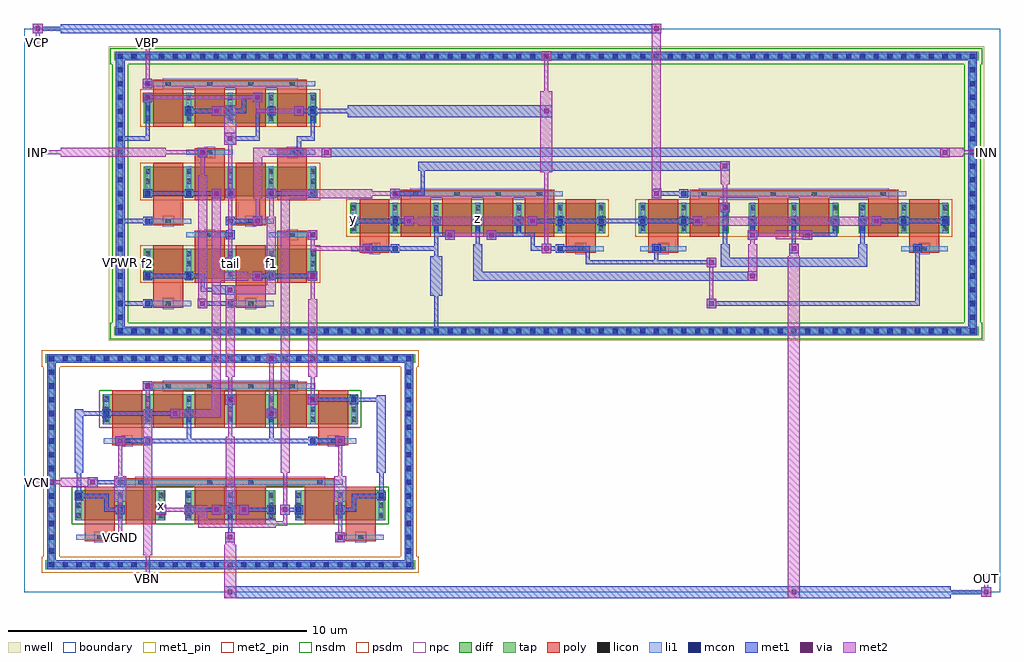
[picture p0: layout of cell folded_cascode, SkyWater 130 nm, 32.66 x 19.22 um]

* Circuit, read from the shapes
.subckt folded_cascode INN INP OUT VBN VBP VCN VCP VGND VPWR f1 f2 tail x y z
XM1 f1 VGND f1 VGND sky130_fd_pr__nfet_01v8 w=1 l=1 m=4
XM2 x VCN f1 VGND sky130_fd_pr__nfet_01v8 w=1 l=1 m=2
XM3 VGND VBN f1 VGND sky130_fd_pr__nfet_01v8 w=1 l=1 m=2
XM4 OUT VCN f2 VGND sky130_fd_pr__nfet_01v8 w=1 l=1 m=2
XM5 f2 VBN VGND VGND sky130_fd_pr__nfet_01v8 w=1 l=1 m=2
XM6 f2 VPWR f2 VPWR sky130_fd_pr__pfet_01v8 w=1 l=1 m=2
XM7 f1 VPWR f1 VPWR sky130_fd_pr__pfet_01v8 w=1 l=1 m=2
XM8 tail VBP VPWR VPWR sky130_fd_pr__pfet_01v8 w=1 l=1 m=4
XM9 tail INN f2 VPWR sky130_fd_pr__pfet_01v8 w=1 l=1 m=2
XM10 tail INP f1 VPWR sky130_fd_pr__pfet_01v8 w=1 l=1 m=2
XM11 y VPWR y VPWR sky130_fd_pr__pfet_01v8 w=1 l=1 m=4
XM12 VPWR x y VPWR sky130_fd_pr__pfet_01v8 w=1 l=1 m=2
XM13 z x VPWR VPWR sky130_fd_pr__pfet_01v8 w=1 l=1 m=2
XM14 x VCP y VPWR sky130_fd_pr__pfet_01v8 w=1 l=1 m=2
XM15 OUT VCP z VPWR sky130_fd_pr__pfet_01v8 w=1 l=1 m=2
.ends

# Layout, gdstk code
import gdstk
lib = gdstk.Library(unit=1e-6, precision=1e-09)
def R(c, l, rs):  # rectangles x0, y0, x1, y1
    for r in rs: c.add(gdstk.rectangle(r[:2], r[2:], *l))
def A(c, l, x, y, w, h, nx, ny, dx, dy):  # array of equal rectangles
    R(c, l, [(x+i*dx, y+j*dy, x+i*dx+w, y+j*dy+h) for i in range(nx) for j in range(ny)])
nwell = (64, 20)
diff = (65, 20)
tap = (65, 44)
poly = (66, 20)
licon = (66, 44)
li1 = (67, 20)
mcon = (67, 44)
met1_pin = (68, 16)
met1 = (68, 20)
via = (68, 44)
met2_pin = (69, 16)
met2 = (69, 20)
nsdm = (93, 44)
psdm = (94, 20)
npc = (95, 20)
boundary = (235, 4)

folded_cascode = lib.new_cell('folded_cascode')
R(folded_cascode, nwell, [(2.835,8.415,32.125,18.265)])
A(folded_cascode, diff, 1.715, 2.405, 3.01, 1, 3, 1, 3.68, 0)
A(folded_cascode, diff, 20.575, 12.02, 3.01, 1, 3, 1, 3.68, 0)
R(folded_cascode, diff, [(2.635,5.625,11.165,6.625), (4.015,10.485,9.785,11.485), (10.915,12.02,19.445,13.02), (4.015,13.245,9.785,14.245), (4.015,15.7,9.785,16.7)])
R(folded_cascode, tap, [(0.715,0.775,13.085,1.065), (0.775,0.775,1.065,7.965), (12.735,0.775,13.025,7.965), (0.715,7.675,13.085,7.965), (3.015,8.595,31.945,8.885), (3.075,8.595,3.365,18.085), (31.595,8.595,31.885,18.085), (3.015,17.795,31.945,18.085)])
A(folded_cascode, poly, 4.33, 5.495, 1, 1.405, 4, 1, 1.38, 0)
A(folded_cascode, poly, 12.61, 11.89, 1, 1.45, 4, 1, 1.38, 0)
A(folded_cascode, poly, 4.33, 15.57, 1, 1.45, 4, 1, 1.38, 0)
R(folded_cascode, poly, [(2.03,1.705,3.03,1.975), (10.77,1.705,11.77,1.975), (2.03,1.84,3.03,3.535), (10.77,1.84,11.77,3.535), (3.41,2.275,4.41,3.68), (5.71,2.275,6.71,3.68), (7.09,2.275,8.09,3.68), (9.39,2.275,10.39,3.68), (3.41,3.545,10.39,3.815), (2.95,4.925,3.95,5.195), (9.85,4.925,10.85,5.195), (2.95,5.06,3.95,6.755), (9.85,5.06,10.85,6.755), (4.33,6.765,9.47,7.035), (4.33,9.525,5.33,9.795), (7.09,9.525,8.09,9.795), (4.33,9.66,5.33,11.615), (7.09,9.66,8.09,11.615), (5.71,10.355,6.71,11.96), (8.47,10.355,9.47,11.96), (11.23,11.365,12.23,11.635), (18.13,11.365,19.13,11.635), (20.89,11.365,21.89,11.635), (29.63,11.365,30.63,11.635), (11.23,11.5,12.23,13.15), (18.13,11.5,19.13,13.15), (20.89,11.5,21.89,13.15), (29.63,11.5,30.63,13.15), (5.71,11.825,6.71,12.095), (8.47,11.825,9.47,12.095), (22.27,11.89,23.27,13.34), (24.57,11.89,25.57,13.34), (25.95,11.89,26.95,13.34), (28.25,11.89,29.25,13.34), (4.33,12.285,5.33,12.555), (7.09,12.285,8.09,12.555), (4.33,12.42,5.33,14.375), (7.09,12.42,8.09,14.375), (5.71,13.115,6.71,14.72), (8.47,13.115,9.47,14.72), (12.61,13.205,17.75,13.475), (22.27,13.205,29.25,13.475), (5.71,14.585,6.71,14.855), (8.47,14.585,9.47,14.855), (4.33,16.885,9.47,17.155)])
A(folded_cascode, licon, 0.835, 0.835, 0.17, 0.17, 27, 2, 0.46, 6.9)
A(folded_cascode, licon, 0.835, 1.295, 0.17, 0.17, 1, 14, 0, 0.46)
A(folded_cascode, licon, 12.795, 1.295, 0.17, 0.17, 1, 14, 0, 0.46)
A(folded_cascode, licon, 1.755, 2.48, 0.17, 0.17, 3, 3, 1.38, 0.34)
A(folded_cascode, licon, 5.435, 2.48, 0.17, 0.17, 3, 3, 1.38, 0.34)
A(folded_cascode, licon, 9.115, 2.48, 0.17, 0.17, 3, 3, 1.38, 0.34)
A(folded_cascode, licon, 2.675, 5.7, 0.17, 0.17, 7, 3, 1.38, 0.34)
A(folded_cascode, licon, 4.745, 6.815, 0.17, 0.17, 4, 2, 1.38, 10.12)
A(folded_cascode, licon, 3.135, 8.655, 0.17, 0.17, 63, 2, 0.46, 9.2)
A(folded_cascode, licon, 3.135, 9.115, 0.17, 0.17, 1, 19, 0, 0.46)
A(folded_cascode, licon, 31.655, 9.115, 0.17, 0.17, 1, 19, 0, 0.46)
A(folded_cascode, licon, 4.055, 10.56, 0.17, 0.17, 5, 3, 1.38, 0.34)
A(folded_cascode, licon, 10.955, 12.095, 0.17, 0.17, 10, 3, 1.38, 0.34)
A(folded_cascode, licon, 24.295, 12.095, 0.17, 0.17, 3, 3, 1.38, 0.34)
A(folded_cascode, licon, 27.975, 12.095, 0.17, 0.17, 3, 3, 1.38, 0.34)
A(folded_cascode, licon, 13.025, 13.255, 0.17, 0.17, 4, 1, 1.38, 0)
A(folded_cascode, licon, 4.055, 13.32, 0.17, 0.17, 5, 3, 1.38, 0.34)
A(folded_cascode, licon, 4.055, 15.775, 0.17, 0.17, 5, 3, 1.38, 0.34)
R(folded_cascode, licon, [(2.445,1.755,2.615,1.925), (11.185,1.755,11.355,1.925), (3.825,3.595,3.995,3.765), (6.125,3.595,6.295,3.765), (7.505,3.595,7.675,3.765), (9.805,3.595,9.975,3.765), (3.365,4.975,3.535,5.145), (10.265,4.975,10.435,5.145), (4.745,9.575,4.915,9.745), (7.505,9.575,7.675,9.745), (11.645,11.415,11.815,11.585), (18.545,11.415,18.715,11.585), (21.305,11.415,21.475,11.585), (30.045,11.415,30.215,11.585), (6.125,11.875,6.295,12.045), (8.885,11.875,9.055,12.045), (4.745,12.335,4.915,12.505), (7.505,12.335,7.675,12.505), (22.685,13.255,22.855,13.425), (24.985,13.255,25.155,13.425), (26.365,13.255,26.535,13.425), (28.665,13.255,28.835,13.425), (6.125,14.635,6.295,14.805), (8.885,14.635,9.055,14.805)])
A(folded_cascode, li1, 1.755, 2.4, 0.17, 1.01, 3, 1, 1.38, 0)
A(folded_cascode, li1, 5.435, 2.4, 0.17, 1.01, 3, 1, 1.38, 0)
A(folded_cascode, li1, 9.115, 2.4, 0.17, 1.01, 3, 1, 1.38, 0)
A(folded_cascode, li1, 2.675, 5.62, 0.17, 1.01, 7, 1, 1.38, 0)
A(folded_cascode, li1, 4.055, 10.48, 0.17, 1.01, 5, 2, 1.38, 2.76)
A(folded_cascode, li1, 10.955, 12.015, 0.17, 1.01, 10, 1, 1.38, 0)
A(folded_cascode, li1, 24.295, 12.015, 0.17, 1.01, 3, 1, 1.38, 0)
A(folded_cascode, li1, 27.975, 12.015, 0.17, 1.01, 3, 1, 1.38, 0)
A(folded_cascode, li1, 4.055, 15.695, 0.17, 1.01, 5, 1, 1.38, 0)
R(folded_cascode, li1, [(0.755,0.835,13.045,1.005), (0.835,0.835,1.005,7.905), (12.795,0.835,12.965,7.905), (1.755,1.755,3.305,1.925), (10.495,1.755,12.045,1.925), (3.135,3.595,10.665,3.765), (2.675,4.975,4.225,5.145), (9.575,4.975,11.125,5.145), (4.055,6.815,9.745,6.985), (0.755,7.735,13.045,7.905), (3.055,8.655,31.905,8.825), (3.135,8.655,3.305,18.025), (31.655,8.655,31.825,18.025), (4.055,9.575,5.605,9.745), (6.815,9.575,8.365,9.745), (10.955,11.415,12.505,11.585), (17.855,11.415,19.405,11.585), (20.615,11.415,22.165,11.585), (29.355,11.415,30.905,11.585), (5.435,11.875,6.985,12.045), (8.195,11.875,9.745,12.045), (4.055,12.335,5.605,12.505), (6.815,12.335,8.365,12.505), (12.335,13.255,18.025,13.425), (21.995,13.255,29.525,13.425), (5.435,14.635,6.985,14.805), (8.195,14.635,9.745,14.805), (4.055,16.935,9.745,17.105), (3.055,17.855,31.905,18.025)])
A(folded_cascode, mcon, 0.835, 0.835, 0.17, 0.17, 27, 2, 0.46, 6.9)
A(folded_cascode, mcon, 0.835, 1.295, 0.17, 0.17, 1, 14, 0, 0.46)
A(folded_cascode, mcon, 12.795, 1.295, 0.17, 0.17, 1, 14, 0, 0.46)
A(folded_cascode, mcon, 3.135, 1.755, 0.17, 0.17, 1, 3, 0, 0.92)
A(folded_cascode, mcon, 5.435, 2.675, 0.17, 0.17, 3, 1, 1.38, 0)
A(folded_cascode, mcon, 2.675, 5.895, 0.17, 0.17, 3, 1, 1.38, 0)
A(folded_cascode, mcon, 3.135, 8.655, 0.17, 0.17, 63, 2, 0.46, 9.2)
A(folded_cascode, mcon, 3.135, 9.115, 0.17, 0.17, 1, 19, 0, 0.46)
A(folded_cascode, mcon, 31.655, 9.115, 0.17, 0.17, 1, 9, 0, 0.46)
A(folded_cascode, mcon, 10.955, 12.335, 0.17, 0.17, 9, 1, 1.38, 0)
A(folded_cascode, mcon, 24.295, 12.335, 0.17, 0.17, 3, 1, 1.38, 0)
A(folded_cascode, mcon, 27.975, 12.335, 0.17, 0.17, 3, 1, 1.38, 0)
A(folded_cascode, mcon, 4.055, 13.255, 0.17, 0.17, 5, 1, 1.38, 0)
A(folded_cascode, mcon, 12.335, 13.255, 0.17, 0.17, 3, 1, 9.66, 0)
A(folded_cascode, mcon, 31.655, 13.715, 0.17, 0.17, 1, 9, 0, 0.46)
A(folded_cascode, mcon, 5.435, 16.015, 0.17, 0.17, 4, 1, 1.38, 0)
R(folded_cascode, mcon, [(10.495,1.755,10.665,1.925), (4.515,2.675,4.685,2.845), (9.115,2.675,9.285,2.845), (10.495,2.675,10.665,2.845), (1.755,3.135,1.925,3.305), (11.875,3.135,12.045,3.305), (4.055,4.975,4.225,5.145), (9.575,4.975,9.745,5.145), (8.195,5.895,8.365,6.065), (6.815,6.355,6.985,6.525), (9.575,6.355,9.745,6.525), (10.955,6.355,11.125,6.525), (4.055,6.815,4.225,6.985), (4.055,9.575,4.225,9.745), (6.815,9.575,6.985,9.745), (4.055,10.495,4.225,10.665), (5.435,10.495,5.605,10.665), (8.195,10.495,8.365,10.665), (9.575,10.495,9.745,10.665), (6.815,10.955,6.985,11.125), (12.335,11.415,12.505,11.585), (17.855,11.415,18.025,11.585), (21.075,11.415,21.245,11.585), (29.815,11.415,29.985,11.585), (6.815,11.875,6.985,12.045), (9.575,11.875,9.745,12.045), (4.055,12.335,4.225,12.505), (6.815,12.335,6.985,12.505), (23.375,12.795,23.545,12.965), (5.895,14.635,6.065,14.805), (9.115,14.635,9.285,14.805), (4.055,16.475,4.225,16.645), (4.055,16.935,4.225,17.105)])
R(folded_cascode, met1_pin, [(3.075,1.695,3.365,1.985), (3.15,9.59,3.29,12.49)])
A(folded_cascode, met1, 3.06, 1.68, 0.32, 0.32, 3, 1, 3.68, 0)
A(folded_cascode, met1, 3.075, 1.695, 0.29, 0.29, 1, 3, 0, 0.92)
A(folded_cascode, met1, 5.375, 2.615, 0.29, 0.29, 3, 1, 1.38, 0)
A(folded_cascode, met1, 2.615, 5.835, 0.29, 0.29, 3, 1, 1.38, 0)
A(folded_cascode, met1, 3.15, 9.59, 1.06, 0.14, 1, 3, 0, 2.76)
A(folded_cascode, met1, 10.895, 12.275, 0.29, 0.29, 9, 1, 1.38, 0)
A(folded_cascode, met1, 24.235, 12.275, 0.29, 0.29, 3, 1, 1.38, 0)
A(folded_cascode, met1, 27.915, 12.275, 0.29, 0.29, 3, 1, 1.38, 0)
A(folded_cascode, met1, 17.87, 12.35, 1.52, 0.14, 3, 1, 1.38, 0)
A(folded_cascode, met1, 3.995, 13.195, 0.29, 0.29, 5, 1, 1.38, 0)
A(folded_cascode, met1, 5.375, 15.955, 0.29, 0.29, 4, 1, 1.38, 0)
R(folded_cascode, met1, [(6.7,-0.2,31.02,0.2), (6.7,-0.2,7.1,0.2), (25.56,-0.2,25.96,0.2), (32.04,-0.16,32.36,0.16), (30.75,-0.07,32.27,0.07), (0.775,0.775,1.065,7.965), (0.775,0.775,13.025,1.065), (12.735,0.775,13.025,7.965), (10.435,1.695,10.725,1.985), (6.83,1.77,6.97,2.83), (4.44,2.6,4.76,2.92), (6.28,2.6,6.6,2.92), (7.2,2.6,7.52,2.92), (8.58,2.6,8.9,2.92), (4.455,2.615,4.745,2.905), (9.055,2.615,9.345,2.905), (10.435,2.615,10.725,2.905), (2.69,2.69,3.29,2.83), (2.69,2.69,2.83,3.29), (5.45,2.69,6.51,2.83), (7.29,2.69,8.35,2.83), (8.67,2.69,9.27,2.83), (10.51,2.69,11.11,2.83), (10.97,2.69,11.11,3.29), (1.695,3.075,1.985,3.365), (11.815,3.075,12.105,3.365), (1.77,3.15,2.83,3.29), (1.77,3.15,1.91,4.21), (10.97,3.15,12.03,3.29), (11.89,3.15,12.03,4.21), (2.14,3.52,2.46,3.84), (2.23,3.61,3.29,3.75), (1.69,3.99,1.99,6.13), (11.81,3.99,12.11,6.59), (3.06,4.9,3.38,5.22), (10.42,4.9,10.74,5.22), (3.995,4.915,4.285,5.205), (9.515,4.915,9.805,5.205), (3.15,4.99,4.21,5.13), (4.07,4.99,5.59,5.13), (5.45,4.99,5.59,6.05), (5.45,4.99,8.35,5.13), (8.21,4.99,8.35,6.05), (8.21,4.99,9.73,5.13), (9.59,4.99,10.65,5.13), (4.9,5.82,5.22,6.14), (8.12,5.82,8.44,6.14), (8.135,5.835,8.425,6.125), (1.77,5.91,2.83,6.05), (2.69,5.91,4.21,6.05), (4.07,5.91,5.13,6.05), (6.74,6.28,7.06,6.6), (9.5,6.28,9.82,6.6), (6.755,6.295,7.045,6.585), (9.515,6.295,9.805,6.585), (10.895,6.295,11.185,6.585), (9.59,6.37,11.11,6.51), (10.97,6.37,12.03,6.51), (3.98,6.74,4.3,7.06), (3.995,6.755,4.285,7.045), (8.12,7.66,8.44,7.98), (0.775,7.675,13.025,7.965), (8.21,7.75,8.35,7.89), (8.21,7.75,12.95,7.89), (12.81,7.75,12.95,7.89), (3.075,8.595,31.885,8.885), (3.075,8.595,3.365,18.085), (31.595,8.595,31.885,18.085), (13.73,8.67,13.87,10.19), (13.73,8.67,13.87,8.81), (5.82,9.5,6.14,9.82), (22.84,9.5,23.16,9.82), (3.995,9.515,4.285,9.805), (6.755,9.515,7.045,9.805), (3.15,9.59,3.29,12.49), (5.91,9.59,6.97,9.73), (22.93,9.59,29.97,9.73), (29.83,9.59,29.97,11.57), (13.6,9.92,14,11.24), (6.74,9.96,7.06,10.28), (6.29,9.97,7.05,10.27), (5.91,10.05,6.51,10.19), (5.91,10.05,6.05,10.65), (7.66,10.42,7.98,10.74), (9.5,10.42,9.82,10.74), (24.22,10.42,24.54,10.74), (15.03,10.43,24.53,10.73), (15.03,10.43,15.33,11.65), (3.995,10.435,4.285,10.725), (5.375,10.435,5.665,10.725), (8.135,10.435,8.425,10.725), (9.515,10.435,9.805,10.725), (4.07,10.51,5.59,10.65), (5.45,10.51,6.05,10.65), (7.75,10.51,8.35,10.65), (8.21,10.51,9.73,10.65), (6.74,10.88,7.06,11.2), (22.84,10.88,23.16,11.2), (23.31,10.89,23.61,11.65), (23.31,10.89,28.21,11.19), (27.91,10.89,28.21,11.65), (6.755,10.895,7.045,11.185), (13.73,10.97,13.87,11.57), (18.79,10.97,18.93,11.57), (18.79,10.97,21.23,11.11), (21.09,10.97,21.23,11.57), (21.09,10.97,23.07,11.11), (11.34,11.34,11.66,11.66), (17.32,11.34,17.64,11.66), (25.6,11.34,25.92,11.66), (12.275,11.355,12.565,11.645), (17.795,11.355,18.085,11.645), (21.015,11.355,21.305,11.645), (29.755,11.355,30.045,11.645), (11.43,11.43,12.49,11.57), (12.35,11.43,13.87,11.57), (13.73,11.43,13.87,12.49), (15.11,11.43,15.25,12.49), (16.95,11.43,18.01,11.57), (16.95,11.43,17.09,12.03), (17.87,11.43,18.93,11.57), (23.39,11.43,23.53,12.95), (25.69,11.43,25.83,12.49), (27.99,11.43,28.13,12.49), (9.5,11.8,9.82,12.12), (14.1,11.8,14.42,12.12), (15.48,11.8,15.8,12.12), (24.22,11.8,24.54,12.12), (26.06,11.8,26.38,12.12), (6.755,11.815,7.045,12.105), (9.515,11.815,9.805,12.105), (6.83,11.89,6.97,12.49), (13.73,11.89,14.33,12.03), (15.57,11.89,16.63,12.03), (16.49,11.89,17.09,12.03), (16.49,11.89,16.63,12.49), (24.31,11.89,24.45,12.49), (26.15,11.89,27.21,12.03), (27.07,11.89,27.21,12.49), (7.66,12.26,7.98,12.58), (12.72,12.26,13.04,12.58), (16.86,12.26,17.18,12.58), (22.38,12.26,22.7,12.58), (28.36,12.26,28.68,12.58), (3.995,12.275,4.285,12.565), (6.755,12.275,7.045,12.565), (3.15,12.35,3.29,15.25), (6.83,12.35,7.89,12.49), (10.97,12.35,12.49,12.49), (12.35,12.35,12.95,12.49), (16.95,12.35,18.01,12.49), (22.01,12.35,22.61,12.49), (28.45,12.35,29.51,12.49), (29.37,12.35,30.89,12.49), (23.3,12.72,23.62,13.04), (23.315,12.735,23.605,13.025), (6.28,13.18,6.6,13.5), (6.74,13.18,7.06,13.5), (8.12,13.18,8.44,13.5), (12.26,13.18,12.58,13.5), (21,13.18,21.32,13.5), (12.275,13.195,12.565,13.485), (21.935,13.195,22.225,13.485), (4.07,13.27,5.59,13.41), (5.45,13.27,6.51,13.41), (8.21,13.27,9.73,13.41), (12.35,13.27,13.41,13.41), (13.27,13.27,13.41,14.33), (21.09,13.27,22.15,13.41), (23.3,14.1,23.62,14.42), (13.19,14.11,23.61,14.41), (5.82,14.56,6.14,14.88), (9.96,14.56,10.28,14.88), (30.66,14.56,30.98,14.88), (9.97,14.57,30.97,14.87), (5.835,14.575,6.125,14.865), (9.055,14.575,9.345,14.865), (9.13,14.65,9.27,15.25), (6.7,14.98,7.1,15.38), (4.07,15.11,4.21,16.63), (6.83,15.11,7.89,15.25), (7.75,15.11,7.89,16.17), (9.13,15.11,9.73,15.25), (9.59,15.11,9.73,16.17), (10.84,15.9,17.68,16.3), (17.28,15.9,17.68,16.3), (6.28,15.94,6.6,16.26), (9.04,15.94,9.36,16.26), (5.45,16.03,6.51,16.17), (6.83,16.03,7.43,16.17), (7.29,16.03,7.43,16.63), (7.75,16.03,8.35,16.17), (9.13,16.03,9.73,16.17), (9.59,16.03,11.11,16.17), (3.98,16.4,4.3,16.72), (7.66,16.4,7.98,16.72), (3.995,16.415,4.285,16.705), (7.29,16.49,7.89,16.63), (3.98,16.86,4.3,17.18), (3.995,16.875,4.285,17.165), (17.32,17.78,17.64,18.1), (3.075,17.795,31.885,18.085), (17.41,17.87,17.55,18.01), (0.3,18.7,0.62,19.02), (21,18.7,21.32,19.02), (1.23,18.71,21.31,19.01), (0.39,18.79,1.45,18.93)])
A(folded_cascode, via, 3.145, 1.765, 0.15, 0.15, 3, 1, 3.68, 0)
R(folded_cascode, via, [(6.825,-0.075,6.975,0.075), (25.685,-0.075,25.835,0.075), (32.125,-0.075,32.275,0.075), (4.525,2.685,4.675,2.835), (6.365,2.685,6.515,2.835), (7.285,2.685,7.435,2.835), (8.665,2.685,8.815,2.835), (2.225,3.605,2.375,3.755), (3.145,4.985,3.295,5.135), (10.505,4.985,10.655,5.135), (4.985,5.905,5.135,6.055), (8.205,5.905,8.355,6.055), (6.825,6.365,6.975,6.515), (9.585,6.365,9.735,6.515), (4.065,6.825,4.215,6.975), (8.205,7.745,8.355,7.895), (5.905,9.585,6.055,9.735), (22.925,9.585,23.075,9.735), (6.825,10.045,6.975,10.195), (7.745,10.505,7.895,10.655), (9.585,10.505,9.735,10.655), (24.305,10.505,24.455,10.655), (6.825,10.965,6.975,11.115), (22.925,10.965,23.075,11.115), (11.425,11.425,11.575,11.575), (17.405,11.425,17.555,11.575), (25.685,11.425,25.835,11.575), (9.585,11.885,9.735,12.035), (14.185,11.885,14.335,12.035), (15.565,11.885,15.715,12.035), (24.305,11.885,24.455,12.035), (26.145,11.885,26.295,12.035), (7.745,12.345,7.895,12.495), (12.805,12.345,12.955,12.495), (16.945,12.345,17.095,12.495), (22.465,12.345,22.615,12.495), (28.445,12.345,28.595,12.495), (23.385,12.805,23.535,12.955), (6.365,13.265,6.515,13.415), (6.825,13.265,6.975,13.415), (8.205,13.265,8.355,13.415), (12.345,13.265,12.495,13.415), (21.085,13.265,21.235,13.415), (23.385,14.185,23.535,14.335), (5.905,14.645,6.055,14.795), (10.045,14.645,10.195,14.795), (30.745,14.645,30.895,14.795), (6.825,15.105,6.975,15.255), (6.365,16.025,6.515,16.175), (9.125,16.025,9.275,16.175), (17.405,16.025,17.555,16.175), (4.065,16.485,4.215,16.635), (7.745,16.485,7.895,16.635), (4.065,16.945,4.215,17.095), (17.405,17.865,17.555,18.015), (0.385,18.785,0.535,18.935), (21.085,18.785,21.235,18.935)])
R(folded_cascode, met2_pin, [(3.99,0.31,4.29,0.61), (32.05,0.31,32.35,0.61), (0.31,3.53,0.61,3.83), (0.31,14.57,0.61,14.87), (32.05,14.57,32.35,14.87), (0.31,18.25,0.61,18.55), (3.99,18.25,4.29,18.55)])
A(folded_cascode, met2, 3.06, 1.68, 0.32, 0.32, 3, 1, 3.68, 0)
R(folded_cascode, met2, [(6.7,-0.2,7.1,0.2), (6.7,-0.2,7.1,1.58), (25.56,-0.2,25.96,11.24), (25.56,-0.2,25.96,0.2), (32.04,-0.16,32.36,0.16), (32.13,-0.07,32.27,0.53), (3.99,0.31,4.29,0.61), (32.05,0.31,32.35,0.61), (4.07,0.39,4.21,1.45), (4.07,0.39,4.21,0.53), (32.13,0.39,32.27,0.53), (3.99,1.23,4.29,6.13), (6.83,1.31,6.97,1.91), (6.74,1.58,7.06,1.68), (3.15,1.77,3.29,3.29), (10.51,1.77,10.65,3.29), (5.83,2.15,6.13,2.91), (5.83,2.15,8.43,2.45), (8.21,2.23,8.81,2.37), (8.67,2.23,8.81,2.83), (4.44,2.6,4.76,2.92), (6.28,2.6,6.6,2.92), (7.2,2.6,7.52,2.92), (8.58,2.6,8.9,2.92), (5.37,2.61,6.13,2.91), (6.29,2.61,7.05,2.91), (6.75,2.61,7.05,5.21), (6.75,2.61,7.51,2.91), (4.53,2.69,5.59,2.83), (8.67,2.69,8.81,4.21), (3.02,3.02,3.42,3.88), (10.38,3.02,10.78,3.88), (2.14,3.52,2.46,3.84), (0.31,3.53,0.61,3.83), (1.23,3.53,2.45,3.83), (0.39,3.61,1.45,3.75), (0.39,3.61,0.53,3.75), (3.15,3.61,3.29,5.13), (10.51,3.61,10.65,5.13), (8.59,3.99,8.89,13.49), (3.06,4.9,3.38,5.22), (10.42,4.9,10.74,5.22), (6.83,4.99,6.97,6.51), (4.9,5.82,5.22,6.14), (8.12,5.82,8.44,6.14), (4.91,5.83,6.59,6.13), (6.29,5.83,6.59,10.73), (4.07,5.91,4.21,6.97), (8.21,5.91,8.35,7.89), (6.74,6.28,7.06,6.6), (9.5,6.28,9.82,6.6), (6.83,6.37,6.97,7.43), (9.59,6.37,9.73,7.43), (3.98,6.74,4.3,7.06), (6.75,7.21,7.05,10.27), (9.51,7.21,9.81,9.81), (8.12,7.66,8.44,7.98), (5.82,9.5,6.14,9.82), (22.84,9.5,23.16,9.82), (5.83,9.51,6.13,13.95), (9.59,9.59,9.73,10.65), (22.93,9.59,23.07,11.11), (6.74,9.96,7.06,10.28), (6.75,9.97,8.43,10.27), (8.13,9.97,8.43,12.57), (7.66,10.42,7.98,10.74), (9.5,10.42,9.82,10.74), (24.22,10.42,24.54,10.74), (6.29,10.43,6.59,13.49), (6.29,10.43,7.51,10.73), (24.23,10.43,24.53,11.65), (7.29,10.51,7.89,10.65), (6.74,10.88,7.06,11.2), (22.84,10.88,23.16,11.2), (6.83,10.97,6.97,13.41), (25.69,10.97,25.83,11.57), (25.6,11.24,25.92,11.34), (11.34,11.34,11.66,11.66), (17.32,11.34,17.64,11.66), (25.6,11.34,25.92,11.66), (9.59,11.43,9.73,12.03), (9.59,11.43,11.57,11.57), (17.41,11.43,17.55,14.33), (24.31,11.43,24.45,12.03), (9.5,11.8,9.82,12.12), (14.1,11.8,14.42,12.12), (15.48,11.8,15.8,12.12), (24.22,11.8,24.54,12.12), (26.06,11.8,26.38,12.12), (25.15,11.81,26.37,12.11), (14.19,11.89,15.71,12.03), (24.31,11.89,25.37,12.03), (7.66,12.26,7.98,12.58), (12.72,12.26,13.04,12.58), (16.86,12.26,17.18,12.58), (22.38,12.26,22.7,12.58), (28.36,12.26,28.68,12.58), (13.19,12.27,17.17,12.57), (22.85,12.27,28.67,12.57), (7.75,12.35,7.89,13.41), (8.21,12.35,8.35,13.41), (12.81,12.35,13.41,12.49), (22.47,12.35,23.07,12.49), (23.3,12.72,23.62,13.04), (23.39,12.81,23.53,13.87), (6.28,13.18,6.6,13.5), (6.74,13.18,7.06,13.5), (8.12,13.18,8.44,13.5), (12.26,13.18,12.58,13.5), (21,13.18,21.32,13.5), (7.67,13.19,7.97,14.87), (8.59,13.19,11.65,13.49), (21.01,13.19,21.31,19.01), (6.83,13.27,6.97,15.25), (11.43,13.27,12.49,13.41), (23.31,13.65,23.61,14.41), (5.91,13.73,6.05,14.79), (17.28,14.06,17.68,16.76), (23.3,14.1,23.62,14.42), (5.82,14.56,6.14,14.88), (9.96,14.56,10.28,14.88), (30.66,14.56,30.98,14.88), (0.31,14.57,0.61,14.87), (1.23,14.57,4.75,14.87), (7.67,14.57,10.27,14.87), (30.67,14.57,31.43,14.87), (32.05,14.57,32.35,14.87), (0.39,14.65,1.45,14.79), (0.39,14.65,0.53,14.79), (4.53,14.65,6.05,14.79), (31.21,14.65,32.27,14.79), (32.13,14.65,32.27,14.79), (6.7,14.98,7.1,15.38), (6.7,14.98,7.1,16.3), (17.28,15.9,17.68,16.3), (6.28,15.94,6.6,16.26), (6.6,15.94,6.7,16.26), (9.04,15.94,9.36,16.26), (6.37,16.03,6.97,16.17), (7.75,16.03,7.89,16.63), (7.75,16.03,9.27,16.17), (3.98,16.4,4.3,16.72), (7.66,16.4,7.98,16.72), (4.07,16.49,7.89,16.63), (17.41,16.49,17.55,18.01), (3.98,16.86,4.3,17.18), (4.07,16.95,4.21,18.47), (17.32,17.78,17.64,18.1), (0.31,18.25,0.61,18.55), (3.99,18.25,4.29,18.55), (0.39,18.33,0.53,18.93), (0.39,18.33,0.53,18.47), (4.07,18.33,4.21,18.47), (0.3,18.7,0.62,19.02), (21,18.7,21.32,19.02)])
R(folded_cascode, nsdm, [(1.59,2.28,12.21,3.53), (2.51,5.5,11.29,6.75), (2.89,8.47,32.07,9.01), (2.95,9.01,3.49,17.67), (31.47,9.01,32.01,17.67), (2.89,17.67,32.07,18.21)])
R(folded_cascode, psdm, [(0.59,0.65,13.21,1.19), (0.65,1.19,1.19,7.55), (12.61,1.19,13.15,7.55), (0.59,7.55,13.21,8.09), (3.89,10.36,9.91,11.61), (10.79,11.895,19.57,13.145), (20.45,11.895,31.07,13.145), (3.89,13.12,9.91,14.37), (3.89,15.575,9.91,16.825)])
R(folded_cascode, npc, [(2.345,1.655,2.715,2.025), (11.085,1.655,11.455,2.025), (3.725,3.495,10.075,3.865), (3.265,4.875,3.635,5.245), (10.165,4.875,10.535,5.245), (4.645,6.715,9.155,7.085), (4.645,9.475,5.015,9.845), (7.405,9.475,7.775,9.845), (11.545,11.315,11.915,11.685), (18.445,11.315,18.815,11.685), (21.205,11.315,21.575,11.685), (29.945,11.315,30.315,11.685), (6.025,11.775,6.395,12.145), (8.785,11.775,9.155,12.145), (4.645,12.235,5.015,12.605), (7.405,12.235,7.775,12.605), (12.925,13.155,17.435,13.525), (22.585,13.155,28.935,13.525), (6.025,14.535,6.395,14.905), (8.785,14.535,9.155,14.905), (4.645,16.835,9.155,17.205)])
R(folded_cascode, boundary, [(0,0,32.66,18.86)])
folded_cascode.add(gdstk.Label('f2', (4.14,10.985), layer=67, texttype=5))
folded_cascode.add(gdstk.Label('tail', (6.9,10.985), layer=67, texttype=5))
folded_cascode.add(gdstk.Label('f1', (8.28,10.985), layer=67, texttype=5))
folded_cascode.add(gdstk.Label('x', (4.6,2.905), layer=67, texttype=5))
folded_cascode.add(gdstk.Label('y', (11.04,12.52), layer=67, texttype=5))
folded_cascode.add(gdstk.Label('z', (15.18,12.52), layer=67, texttype=5))
folded_cascode.add(gdstk.Label('VPWR', (3.22,11.04), layer=68, texttype=5))
folded_cascode.add(gdstk.Label('VGND', (3.22,1.84), layer=68, texttype=5))
folded_cascode.add(gdstk.Label('INP', (0.46,14.72), layer=69, texttype=5))
folded_cascode.add(gdstk.Label('INN', (32.2,14.72), layer=69, texttype=5))
folded_cascode.add(gdstk.Label('VBP', (4.14,18.4), layer=69, texttype=5))
folded_cascode.add(gdstk.Label('VBN', (4.14,0.46), layer=69, texttype=5))
folded_cascode.add(gdstk.Label('VCN', (0.46,3.68), layer=69, texttype=5))
folded_cascode.add(gdstk.Label('VCP', (0.46,18.4), layer=69, texttype=5))
folded_cascode.add(gdstk.Label('OUT', (32.2,0.46), layer=69, texttype=5))
folded_cascode.add(gdstk.Label('VPWR', (3.22,11.04), layer=68, texttype=16))
folded_cascode.add(gdstk.Label('VGND', (3.22,1.84), layer=68, texttype=16))
folded_cascode.add(gdstk.Label('INP', (0.46,14.72), layer=69, texttype=16))
folded_cascode.add(gdstk.Label('INN', (32.2,14.72), layer=69, texttype=16))
folded_cascode.add(gdstk.Label('VBP', (4.14,18.4), layer=69, texttype=16))
folded_cascode.add(gdstk.Label('VBN', (4.14,0.46), layer=69, texttype=16))
folded_cascode.add(gdstk.Label('VCN', (0.46,3.68), layer=69, texttype=16))
folded_cascode.add(gdstk.Label('VCP', (0.46,18.4), layer=69, texttype=16))
folded_cascode.add(gdstk.Label('OUT', (32.2,0.46), layer=69, texttype=16))

lib.write_gds('folded_cascode.gds')
